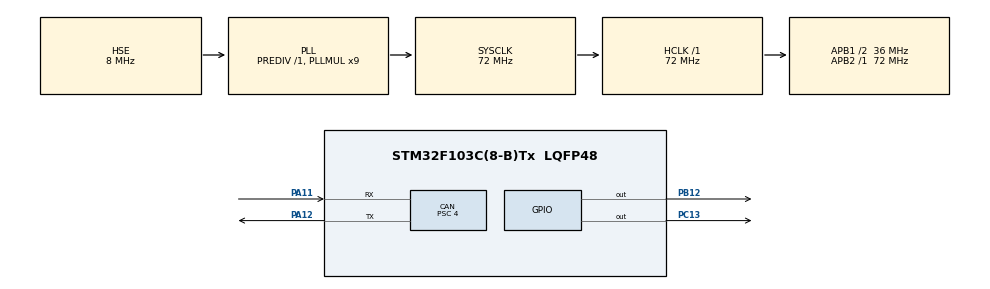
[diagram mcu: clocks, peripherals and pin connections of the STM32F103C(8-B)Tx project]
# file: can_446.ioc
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CAN.BS1=CAN_BS1_15TQ
CAN.BS2=CAN_BS2_2TQ
CAN.CalculateBaudRate=500000
CAN.CalculateTimeBit=2000
CAN.CalculateTimeQuantum=111.11111111111111
CAN.Prescaler=4
Mcu.Family=STM32F1
Mcu.Name=STM32F103C(8-B)Tx
Mcu.Package=LQFP48
NVIC.PriorityGroup=NVIC_PRIORITYGROUP_4
NVIC.USB_LP_CAN1_RX0_IRQn=true\:0\:0\:false\:false\:true\:true\:true\:true
PA11.Mode=CAN_Activate
PA11.Signal=CAN_RX
PA12.Mode=CAN_Activate
PA12.Signal=CAN_TX
PA13.Mode=Serial_Wire
PA13.Signal=SYS_JTMS-SWDIO
PA14.Mode=Serial_Wire
PA14.Signal=SYS_JTCK-SWCLK
PB12.Signal=GPIO_Output
PC13-TAMPER-RTC.Signal=GPIO_Output
PD0-OSC_IN.Mode=HSE-External-Oscillator
PD0-OSC_IN.Signal=RCC_OSC_IN
PD1-OSC_OUT.Mode=HSE-External-Oscillator
PD1-OSC_OUT.Signal=RCC_OSC_OUT
ProjectManager.HeapSize=0x200
ProjectManager.StackSize=0x400
ProjectManager.TargetToolchain=STM32CubeIDE
RCC.AHBFreq_Value=72000000
RCC.APB1CLKDivider=RCC_HCLK_DIV2
RCC.APB1Freq_Value=36000000
RCC.APB1TimFreq_Value=72000000
RCC.APB2Freq_Value=72000000
RCC.APB2TimFreq_Value=72000000
RCC.HCLKFreq_Value=72000000
RCC.PLLMUL=RCC_PLL_MUL9
RCC.PLLSourceVirtual=RCC_PLLSOURCE_HSE
RCC.SYSCLKFreq_VALUE=72000000
RCC.SYSCLKSource=RCC_SYSCLKSOURCE_PLLCLK
RCC.USBFreq_Value=72000000
board=custom

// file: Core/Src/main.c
/* USER CODE BEGIN Header */
/**
  ******************************************************************************
  * @file           : main.c
  * @brief          : Main program body
  ******************************************************************************
  * @attention
  *
  * Copyright (c) 2023 STMicroelectronics.
  * All rights reserved.
  *
  * This software is licensed under terms that can be found in the LICENSE file
  * in the root directory of this software component.
  * If no LICENSE file comes with this software, it is provided AS-IS.
  *
  ******************************************************************************
  */
/* USER CODE END Header */
#include "main.h"

CAN_HandleTypeDef hcan;

void SystemClock_Config(void);
static void MX_GPIO_Init(void);
static void MX_CAN_Init(void);
/* USER CODE BEGIN PFP */
CAN_TxHeaderTypeDef   TxHeader;
CAN_RxHeaderTypeDef   RxHeader;
CAN_FilterTypeDef  		sFilterConfig;

uint8_t TxData[8];
uint8_t RxData[8];

uint32_t TxMailbox;

void cau_hinh_can_1()
{
	//================can tx===================//
	TxHeader.StdId = 0x446;//dia chi cua can
	TxHeader.RTR = CAN_RTR_DATA;
	TxHeader.IDE = CAN_ID_STD;
	TxHeader.DLC = 8;	//so byte truyen di
	TxHeader.TransmitGlobalTime = DISABLE;

	//=================can filter==============//
	/* -- id 0X2B0 ----------------------------------*/
	sFilterConfig.FilterBank = 0;
	sFilterConfig.FilterMode = CAN_FILTERMODE_IDMASK;
	sFilterConfig.FilterScale = CAN_FILTERSCALE_32BIT;
	sFilterConfig.FilterIdHigh = 0x0000;
	sFilterConfig.FilterIdLow = 0;
	sFilterConfig.FilterMaskIdHigh = 0x0000;
	sFilterConfig.FilterMaskIdLow = 0;
	sFilterConfig.FilterFIFOAssignment = CAN_RX_FIFO0;
	sFilterConfig.FilterActivation = ENABLE;
	HAL_CAN_ConfigFilter(&hcan, &sFilterConfig);
	//==================cho phep can hoat dong=================//
	HAL_CAN_Start(&hcan);
	//==================kich hoat ngat can=====================//
	HAL_CAN_ActivateNotification(&hcan,CAN_IT_RX_FIFO0_MSG_PENDING);

}
void HAL_CAN_RxFifo0FullCallback(CAN_HandleTypeDef *hcan)
{

}
void HAL_CAN_RxFifo0MsgPendingCallback(CAN_HandleTypeDef *hcan)
{

}
/* USER CODE END PFP */

int main(void)
{

  /* MCU Configuration--------------------------------------------------------*/

  /* Reset of all peripherals, Initializes the Flash interface and the Systick. */
  HAL_Init();

  /* Configure the system clock */
  SystemClock_Config();

  /* Initialize all configured peripherals */
  MX_GPIO_Init();
  MX_CAN_Init();
  /* USER CODE BEGIN 2 */
  cau_hinh_can_1();

  /* USER CODE END 2 */

  /* Infinite loop */
  while (1)
  {

  }
}

void SystemClock_Config(void)
{
  RCC_OscInitTypeDef RCC_OscInitStruct = {0};
  RCC_ClkInitTypeDef RCC_ClkInitStruct = {0};

  /** Initializes the RCC Oscillators according to the specified parameters
  * in the RCC_OscInitTypeDef structure.
  */
  RCC_OscInitStruct.OscillatorType = RCC_OSCILLATORTYPE_HSE;
  RCC_OscInitStruct.HSEState = RCC_HSE_ON;
  RCC_OscInitStruct.HSEPredivValue = RCC_HSE_PREDIV_DIV1;
  RCC_OscInitStruct.HSIState = RCC_HSI_ON;
  RCC_OscInitStruct.PLL.PLLState = RCC_PLL_ON;
  RCC_OscInitStruct.PLL.PLLSource = RCC_PLLSOURCE_HSE;
  RCC_OscInitStruct.PLL.PLLMUL = RCC_PLL_MUL9;
  if (HAL_RCC_OscConfig(&RCC_OscInitStruct) != HAL_OK)
  {
    Error_Handler();
  }

  /** Initializes the CPU, AHB and APB buses clocks
  */
  RCC_ClkInitStruct.ClockType = RCC_CLOCKTYPE_HCLK|RCC_CLOCKTYPE_SYSCLK
                              |RCC_CLOCKTYPE_PCLK1|RCC_CLOCKTYPE_PCLK2;
  RCC_ClkInitStruct.SYSCLKSource = RCC_SYSCLKSOURCE_PLLCLK;
  RCC_ClkInitStruct.AHBCLKDivider = RCC_SYSCLK_DIV1;
  RCC_ClkInitStruct.APB1CLKDivider = RCC_HCLK_DIV2;
  RCC_ClkInitStruct.APB2CLKDivider = RCC_HCLK_DIV1;

  if (HAL_RCC_ClockConfig(&RCC_ClkInitStruct, FLASH_LATENCY_2) != HAL_OK)
  {
    Error_Handler();
  }
}

static void MX_CAN_Init(void)
{

  hcan.Instance = CAN1;
  hcan.Init.Prescaler = 4;
  hcan.Init.Mode = CAN_MODE_NORMAL;
  hcan.Init.SyncJumpWidth = CAN_SJW_1TQ;
  hcan.Init.TimeSeg1 = CAN_BS1_15TQ;
  hcan.Init.TimeSeg2 = CAN_BS2_2TQ;
  hcan.Init.TimeTriggeredMode = DISABLE;
  hcan.Init.AutoBusOff = DISABLE;
  hcan.Init.AutoWakeUp = DISABLE;
  hcan.Init.AutoRetransmission = DISABLE;
  hcan.Init.ReceiveFifoLocked = DISABLE;
  hcan.Init.TransmitFifoPriority = DISABLE;
  if (HAL_CAN_Init(&hcan) != HAL_OK)
  {
    Error_Handler();
  }

}

static void MX_GPIO_Init(void)
{
  GPIO_InitTypeDef GPIO_InitStruct = {0};

  /* GPIO Ports Clock Enable */
  __HAL_RCC_GPIOC_CLK_ENABLE();
  __HAL_RCC_GPIOD_CLK_ENABLE();
  __HAL_RCC_GPIOB_CLK_ENABLE();
  __HAL_RCC_GPIOA_CLK_ENABLE();

  /*Configure GPIO pin Output Level */
  HAL_GPIO_WritePin(GPIOC, GPIO_PIN_13, GPIO_PIN_RESET);

  /*Configure GPIO pin Output Level */
  HAL_GPIO_WritePin(GPIOB, GPIO_PIN_12, GPIO_PIN_RESET);

  /*Configure GPIO pin : PC13 */
  GPIO_InitStruct.Pin = GPIO_PIN_13;
  GPIO_InitStruct.Mode = GPIO_MODE_OUTPUT_PP;
  GPIO_InitStruct.Pull = GPIO_NOPULL;
  GPIO_InitStruct.Speed = GPIO_SPEED_FREQ_LOW;
  HAL_GPIO_Init(GPIOC, &GPIO_InitStruct);

  /*Configure GPIO pin : PB12 */
  GPIO_InitStruct.Pin = GPIO_PIN_12;
  GPIO_InitStruct.Mode = GPIO_MODE_OUTPUT_PP;
  GPIO_InitStruct.Pull = GPIO_NOPULL;
  GPIO_InitStruct.Speed = GPIO_SPEED_FREQ_LOW;
  HAL_GPIO_Init(GPIOB, &GPIO_InitStruct);

}

void Error_Handler(void)
{
  __disable_irq();
  while (1)
  {
  }
}
